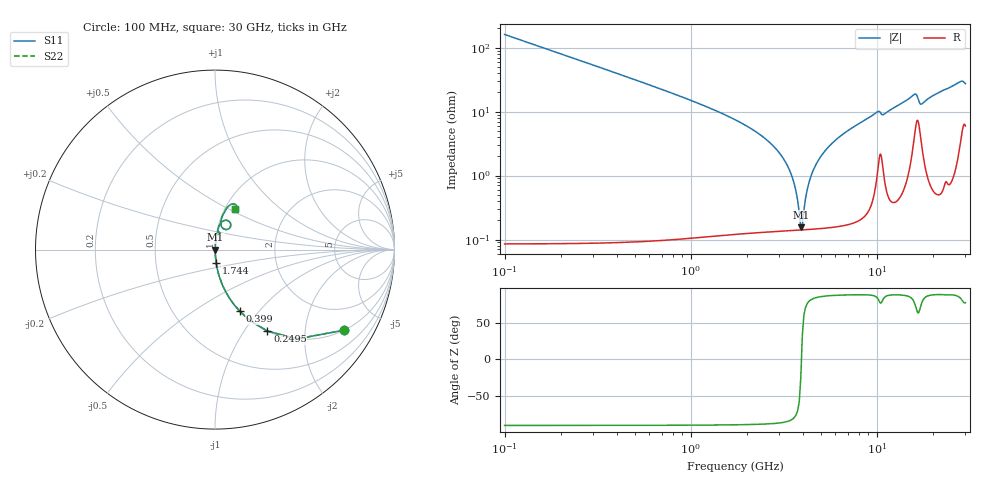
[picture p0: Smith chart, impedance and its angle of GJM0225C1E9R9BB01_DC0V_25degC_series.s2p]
!Murata Part Number: GJM0225C1E9R9BB01
!These Parameters are Measured in Series Mode Connection
!  o--ll--o
!Port1  Port2
!  o------o
!Operation Temp=25[degC], DC Bias Voltage=0[V]
!Freq. Start=100[MHz] Stop=30[GHz], 401[Steps]
!Data Generated on Feb 1, 2023
# Hz S RI R 50
!Freq.(Hz) S11(Real) S11(Imag) S21(Real) S21(Imag) S12(Real) S12(Imag) S22(Real) S22(Imag)
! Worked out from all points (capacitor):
!   401 points, 100 MHz to 30 GHz, reference 50 ohm
!   read as one part in series: C = 9.9 pF near 249.5 MHz
!   lowest |Z| = 154 mohm at 3.912 GHz (marker M1)
!   series resonance near 3.943 GHz, so ESL is about 160 pH
!   S11 on the Smith chart (normalised r, x): 100 MHz: 1.00, -3.21; 249.5 MHz: 1.00, -1.28; 399 MHz: 1.00, -0.80; 1.744 GHz: 1.00, -0.15; 30 GHz: 1.12, +0.53
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1e8  0.7206 -0.4484  0.2794 0.4484  0.2794 0.4484  0.7206 -0.4484
2.495e8  0.2919 -0.454  0.7081 0.454  0.7081 0.454  0.2919 -0.454
3.99e8  0.1377 -0.3435  0.8623 0.3435  0.8623 0.3435  0.1377 -0.3435
9.2225e8  0.0273 -0.1599  0.9727 0.1599  0.9727 0.1599  0.0273 -0.1599
1.7445e9  0.00663 -0.0734  0.9934 0.0734  0.9934 0.0734  0.00663 -0.0734
2.71625e9  0.00228 -0.0309  0.9977 0.0309  0.9977 0.0309  0.00228 -0.0309
3.2395e9  0.00162 -0.0161  0.9984 0.0161  0.9984 0.0161  0.00162 -0.0161
3.5385e9  0.00146 -0.00881  0.9985 0.00881  0.9985 0.00881  0.00146 -0.00881
3.91225e9  0.00141 -0.000626  0.9986 0.000626  0.9986 0.000626  0.00141 -0.000626
4.06175e9  0.00142 0.00243  0.9986 -0.00243  0.9986 -0.00243  0.00142 0.00243
4.286e9  0.00148 0.00682  0.9985 -0.00682  0.9985 -0.00682  0.00148 0.00682
4.4355e9  0.00153 0.00963  0.9985 -0.00963  0.9985 -0.00963  0.00153 0.00963
5.10825e9  0.00195 0.0214  0.9981 -0.0214  0.9981 -0.0214  0.00195 0.0214
6.8275e9  0.00394 0.0475  0.9961 -0.0475  0.9961 -0.0475  0.00394 0.0475
1.01165e10  0.0207 0.0958  0.9793 -0.0958  0.9793 -0.0958  0.0207 0.0958
1.0864e10  0.019 0.0861  0.981 -0.0861  0.981 -0.0861  0.019 0.0861
1.505e10  0.0375 0.1539  0.9625 -0.1539  0.9625 -0.1539  0.0375 0.1539
1.617125e10  0.0788 0.1569  0.9212 -0.1569  0.9212 -0.1569  0.0788 0.1569
1.72925e10  0.0494 0.1149  0.9506 -0.1149  0.9506 -0.1149  0.0494 0.1149
2.005825e10  0.0356 0.1697  0.9644 -0.1697  0.9644 -0.1697  0.0356 0.1697
2.50665e10  0.0624 0.2266  0.9376 -0.2266  0.9376 -0.2266  0.0624 0.2266
3e10  0.1125 0.2236  0.8875 -0.2236  0.8875 -0.2236  0.1125 0.2236
